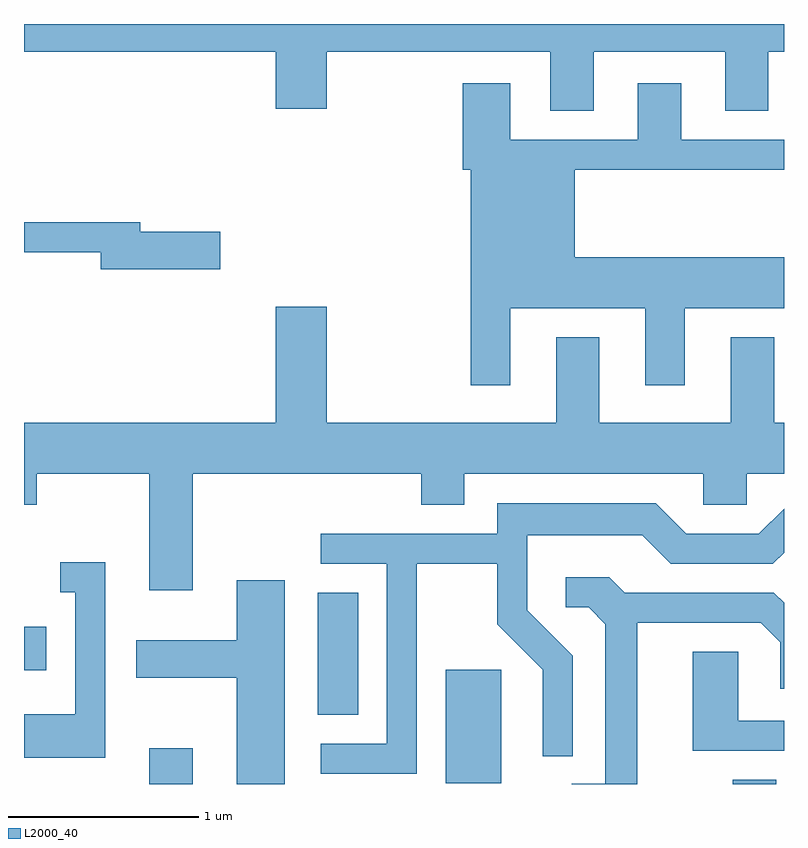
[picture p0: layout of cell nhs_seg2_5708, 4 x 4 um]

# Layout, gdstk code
import gdstk
lib = gdstk.Library(unit=1e-6, precision=1e-09)
def R(c, l, rs):  # rectangles x0, y0, x1, y1
    for r in rs: c.add(gdstk.rectangle(r[:2], r[2:], *l))
def P(c, l, *ps):  # polygons
    for p in ps: c.add(gdstk.Polygon(p, *l))
L2000_40 = (2000, 40)

nhs_seg2_5708 = lib.new_cell('nhs_seg2_5708')
R(nhs_seg2_5708, L2000_40, [(354.271,1037.802,354.499,1037.989), (357.341,1037.802,357.569,1037.824), (355.831,1037.806,356.124,1038.404), (355.156,1038.166,355.369,1038.809), (353.611,1038.401,353.729,1038.629)])
P(nhs_seg2_5708, L2000_40, [(356.609,1041.656),(357.301,1041.656),(357.301,1041.346),(357.529,1041.346),(357.529,1041.656),(357.611,1041.656),(357.611,1041.802),(353.611,1041.802),(353.611,1041.656),(354.936,1041.656),(354.936,1041.356),(355.204,1041.356),(355.204,1041.656),(356.381,1041.656),(356.381,1041.346),(356.609,1041.346)],
  [(356.169,1040.306),(356.881,1040.306),(356.881,1039.901),(357.089,1039.901),(357.089,1040.306),(357.611,1040.306),(357.611,1040.574),(356.509,1040.574),(356.509,1041.036),(357.611,1041.036),(357.611,1041.194),(357.069,1041.194),(357.069,1041.489),(356.841,1041.489),(356.841,1041.194),(356.169,1041.194),(356.169,1041.489),(355.921,1041.489),(355.921,1041.036),(355.961,1041.036),(355.961,1039.901),(356.169,1039.901)],
  [(354.644,1040.709),(354.224,1040.709),(354.224,1040.759),(353.611,1040.759),(353.611,1040.601),(354.016,1040.601),(354.016,1040.511),(354.644,1040.511)],
  [(354.499,1039.436),(355.701,1039.436),(355.701,1039.271),(355.929,1039.271),(355.929,1039.436),(357.186,1039.436),(357.186,1039.271),(357.414,1039.271),(357.414,1039.436),(357.611,1039.436),(357.611,1039.704),(357.559,1039.704),(357.559,1040.154),(357.331,1040.154),(357.331,1039.704),(356.639,1039.704),(356.639,1040.154),(356.411,1040.154),(356.411,1039.704),(355.204,1039.704),(355.204,1040.314),(354.936,1040.314),(354.936,1039.704),(353.611,1039.704),(353.611,1039.271),(353.679,1039.271),(353.679,1039.436),(354.271,1039.436),(354.271,1038.821),(354.499,1038.821)],
  [(355.679,1038.961),(356.101,1038.961),(356.101,1038.644),(356.341,1038.404),(356.341,1037.948),(356.499,1037.948),(356.499,1038.477),(356.259,1038.717),(356.259,1039.111),(356.864,1039.111),(357.014,1038.961),(357.552,1038.961),(357.611,1039.02),(357.611,1039.251),(357.479,1039.119),(357.097,1039.119),(356.937,1039.279),(356.101,1039.279),(356.101,1039.119),(355.173,1039.119),(355.173,1038.961),(355.521,1038.961),(355.521,1038.014),(355.173,1038.014),(355.173,1037.856),(355.679,1037.856)],
  [(354.039,1038.969),(353.803,1038.969),(353.803,1038.811),(353.881,1038.811),(353.881,1038.169),(353.611,1038.169),(353.611,1037.941),(354.039,1037.941)],
  [(356.839,1038.651),(357.489,1038.651),(357.591,1038.549),(357.591,1038.303),(357.611,1038.303),(357.611,1038.755),(357.557,1038.809),(356.772,1038.809),(356.692,1038.889),(356.463,1038.889),(356.463,1038.731),(356.584,1038.731),(356.671,1038.644),(356.671,1037.804),(356.493,1037.804),(356.493,1037.802),(356.839,1037.802)],
  [(354.984,1038.874),(354.731,1038.874),(354.731,1038.559),(354.201,1038.559),(354.201,1038.361),(354.731,1038.361),(354.731,1037.802),(354.984,1037.802)],
  [(357.611,1038.134),(357.369,1038.134),(357.369,1038.499),(357.131,1038.499),(357.131,1037.976),(357.611,1037.976)])

lib.write_gds('nhs_seg2_5708.gds')
